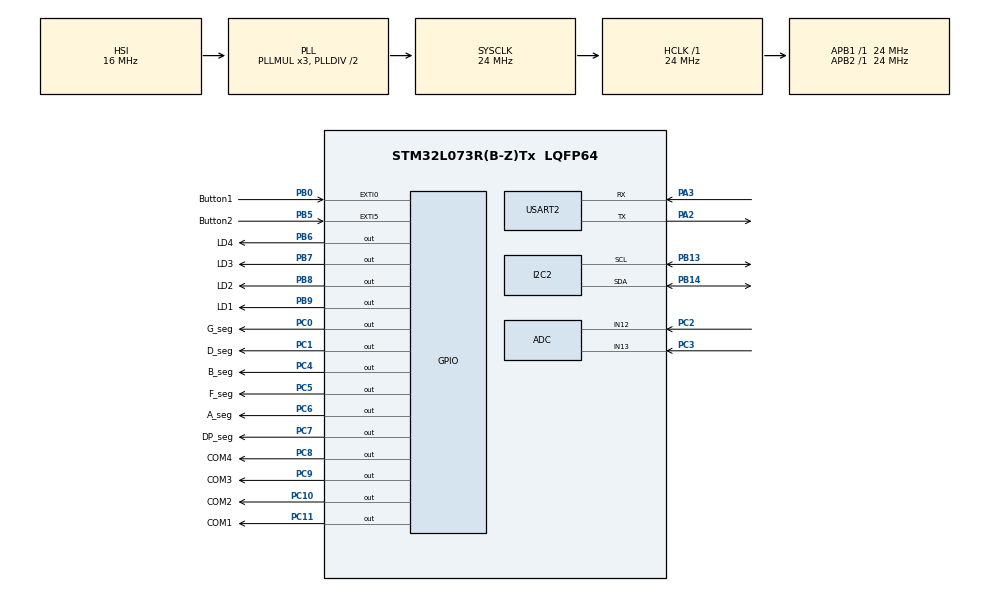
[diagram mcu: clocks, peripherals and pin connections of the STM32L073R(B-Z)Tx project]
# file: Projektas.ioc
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ADC.ClockPrescaler=ADC_CLOCK_ASYNC_DIV1
ADC.ContinuousConvMode=DISABLE
ADC.DMAContinuousRequests=DISABLE
ADC.EOCSelection=ADC_EOC_SEQ_CONV
ADC.SamplingTime=ADC_SAMPLETIME_160CYCLES_5
Dma.ADC.0.Direction=DMA_PERIPH_TO_MEMORY
Dma.ADC.0.Instance=DMA1_Channel1
Dma.ADC.0.MemDataAlignment=DMA_MDATAALIGN_HALFWORD
Dma.ADC.0.MemInc=DMA_MINC_ENABLE
Dma.ADC.0.Mode=DMA_NORMAL
Dma.ADC.0.PeriphDataAlignment=DMA_PDATAALIGN_HALFWORD
Dma.ADC.0.PeriphInc=DMA_PINC_DISABLE
Dma.ADC.0.Priority=DMA_PRIORITY_MEDIUM
Dma.Request0=ADC
I2C2.Timing=0x00805C87
Mcu.Family=STM32L0
Mcu.Name=STM32L073R(B-Z)Tx
Mcu.Package=LQFP64
NVIC.ADC1_COMP_IRQn=true\:0\:0\:false\:false\:true\:true\:true\:true
NVIC.DMA1_Channel1_IRQn=true\:0\:0\:false\:false\:true\:false\:true\:true
NVIC.EXTI0_1_IRQn=true\:0\:0\:false\:false\:true\:true\:true\:true
NVIC.EXTI4_15_IRQn=true\:0\:0\:false\:false\:true\:true\:true\:true
NVIC.TIM2_IRQn=true\:0\:0\:false\:false\:true\:true\:true\:true
PA2.Mode=Asynchronous
PA2.Signal=USART2_TX
PA3.Mode=Asynchronous
PA3.Signal=USART2_RX
PB0.GPIO_Label=Button1
PB0.GPIO_ModeDefaultEXTI=GPIO_MODE_IT_RISING
PB0.Signal=GPXTI0
PB13.Mode=I2C
PB13.Signal=I2C2_SCL
PB14.Mode=I2C
PB14.Signal=I2C2_SDA
PB5.GPIO_Label=Button2
PB5.Signal=GPXTI5
PB6.GPIO_Label=LD4
PB6.Signal=GPIO_Output
PB7.GPIO_Label=LD3
PB7.Signal=GPIO_Output
PB8.GPIO_Label=LD2
PB8.Signal=GPIO_Output
PB9.GPIO_Label=LD1
PB9.Signal=GPIO_Output
PC0.GPIO_Label=G_seg
PC0.Signal=GPIO_Output
PC1.GPIO_Label=D_seg
PC1.Signal=GPIO_Output
PC10.GPIO_Label=COM2
PC10.Signal=GPIO_Output
PC11.GPIO_Label=COM1
PC11.Signal=GPIO_Output
PC2.Mode=IN12
PC2.Signal=ADC_IN12
PC3.Mode=IN13
PC3.Signal=ADC_IN13
PC4.GPIO_Label=B_seg
PC4.Signal=GPIO_Output
PC5.GPIO_Label=F_seg
PC5.Signal=GPIO_Output
PC6.GPIO_Label=A_seg
PC6.Signal=GPIO_Output
PC7.GPIO_Label=DP_seg
PC7.Signal=GPIO_Output
PC8.GPIO_Label=COM4
PC8.Signal=GPIO_Output
PC9.GPIO_Label=COM3
PC9.Signal=GPIO_Output
ProjectManager.HeapSize=0x200
ProjectManager.StackSize=0x400
ProjectManager.TargetToolchain=MDK-ARM V5.32
RCC.ADCFreq_Value=16000000
RCC.AHBFreq_Value=24000000
RCC.APB1Freq_Value=24000000
RCC.APB1TimFreq_Value=24000000
RCC.APB2Freq_Value=24000000
RCC.APB2TimFreq_Value=24000000
RCC.HCLKFreq_Value=24000000
RCC.HSE_VALUE=8000000
RCC.HSI16_VALUE=16000000
RCC.HSI48_VALUE=48000000
RCC.HSI_VALUE=16000000
RCC.LSE_VALUE=32768
RCC.MSI_VALUE=2097000
RCC.SYSCLKFreq_VALUE=24000000
RCC.SYSCLKSource=RCC_SYSCLKSOURCE_PLLCLK
RCC.VCOOutputFreq_Value=48000000
TIM2.Period=800
TIM2.Prescaler=6000
USART2.VirtualMode-Asynchronous=VM_ASYNC
VP_TIM2_VS_ClockSourceINT.Mode=Internal
board=custom

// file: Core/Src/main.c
/* USER CODE BEGIN Header */
/**
  ******************************************************************************
  * @file           : main.c
  * @brief          : Main program body
  ******************************************************************************
  * @attention
  *
  * Copyright (c) 2025 STMicroelectronics.
  * All rights reserved.
  *
  * This software is licensed under terms that can be found in the LICENSE file
  * in the root directory of this software component.
  * If no LICENSE file comes with this software, it is provided AS-IS.
  *
  ******************************************************************************
  */
/* USER CODE END Header */
#include "main.h"

/* USER CODE BEGIN Includes */
#include "math.h"
#include "sc_types.h"
#include "Statechart.h"
#include "Statechart_required.h"

#include "ssd1306.h"
#include "ssd1306_fonts.h"
#include <stdio.h>

/* USER CODE END Includes */

ADC_HandleTypeDef hadc;
DMA_HandleTypeDef hdma_adc;

I2C_HandleTypeDef hi2c2;

TIM_HandleTypeDef htim2;

UART_HandleTypeDef huart2;

void SystemClock_Config(void);
static void MX_GPIO_Init(void);
static void MX_DMA_Init(void);
static void MX_TIM2_Init(void);
static void MX_ADC_Init(void);
static void MX_I2C2_Init(void);
static void MX_USART2_UART_Init(void);

/* USER CODE BEGIN 0 */
#define Rfixed 10000
#define NUM_CHAN 2
#define BUFF 10
volatile uint16_t adc_values[NUM_CHAN];
float LuxAvarage[NUM_CHAN];
float Lux[NUM_CHAN];
float LuxBuffer[BUFF][NUM_CHAN];
float skirtumas;

Statechart sc_handle; // Statechart pointer
/////////////////////////////////////

 sc_integer statechart_startConvADC( Statechart* handle, const sc_integer channel)
{
	  if (HAL_ADC_Start_DMA(&hadc,(uint32_t *)adc_values,NUM_CHAN) != HAL_OK)
		{
			Error_Handler();// handle error};
		  return 0;
		}
		return 1;
}

////////////// ADC /////////////////////////
 sc_integer statechart_readADCSample( Statechart* handle, const sc_integer channel)
{
	float Rldr[NUM_CHAN];
	float voltage[NUM_CHAN];
	if(channel==NUM_CHAN-1)
	{
		for(int i=0;i<NUM_CHAN;i++)
		{
		voltage[i]=((float)adc_values[i]/4096)*3.3;
		Rldr[i]=Rfixed*(voltage[i]/(3.3 - voltage[i]));
		Lux[i]=3.73e7f * powf(Rldr[i], -1.512f);
		}
	}
	return 1;
}

//////////////////// SAVE ADC SAMPLE /////////////////////////////////////////////
sc_integer statechart_saveADCSample( Statechart* handle, const sc_integer channel, const sc_integer sample)
{
	for (int i=0;i<NUM_CHAN;i++)
	 LuxBuffer[sample][i]=Lux[i];
	return 1;
}

////////////////////////Transmit////////////////////////////////////////
void statechart_transmitReadings(Statechart* handle)
{
	char txMessage[64];
	long timestamp;
	timestamp = HAL_GetTick();  // Milliseconds since startup
	int len = sprintf(txMessage, "Lux1: %.2f Lux2: %.2f [%lu ms] \r\n", Lux[0], Lux[1], timestamp);
	HAL_UART_Transmit(&huart2, (uint8_t*)txMessage, len, HAL_MAX_DELAY);
 }

//////////////////////// APDOROJA //////////////////////////////////////
void statechart_processData( Statechart* handle)
{
	int j;
	float sum2[2];
	for( j=0;j<2;j++)
	   sum2[j]=0;
  for(int i=0;i<10;i++)
	 {

		 for(j=0;j<2;j++)
	     sum2[j]+=LuxBuffer[i][j];
  }
	for(j=0;j<2;j++)
	{
	      LuxAvarage[j]=sum2[j]/BUFF;
	}
	skirtumas=fabsf(LuxAvarage[0]-LuxAvarage[1]);

}
void statechart_displayInfo( Statechart* handle)
{
	char txxMessage[64];
	long timestamp;
	#ifndef DISABLE_DISPLAY
	static char string_display[30];

	// Display analog sensors readings
	ssd1306_FillRectangle(0, 0,128, 32, Black);
	ssd1306_SetCursor(0, 0); // ssd1306_SetCursor(0, 14);
	sprintf(string_display,"Pirmas=%.2f lux",LuxAvarage[0]);
	ssd1306_WriteString(string_display,Font_6x8, White);
  ssd1306_SetCursor(0, 13); // ssd1306_SetCursor(0, 14);
  sprintf(string_display,"Antras=%.2f lux",LuxAvarage[1]);
  ssd1306_WriteString(string_display,Font_6x8, White);
	 ssd1306_SetCursor(0, 24); // ssd1306_SetCursor(0, 14);
  sprintf(string_display,"Skirtumas=%.1f lux",skirtumas);
  ssd1306_WriteString(string_display,Font_6x8, White);

	// Copy all data from local screenbuffer to the screen
  ssd1306_UpdateScreen();
	timestamp = HAL_GetTick();  // Milliseconds since startup
	int len = sprintf(txxMessage, "Atvaziduoja [%lu ms] \r\n", timestamp);
	HAL_UART_Transmit(&huart2, (uint8_t*)txxMessage, len, HAL_MAX_DELAY);
	#endif

	__asm("NOP");  // for breakpoint
}

void HAL_TIM_PeriodElapsedCallback(TIM_HandleTypeDef *htim)
{
  if (htim==&htim2)
	{
		HAL_ResumeTick(); // Enable SysTick after wake-up
		statechart_raise_ev_GetSample(&sc_handle); //raise event TimerIntr in statechart
	}
}

/* ADC conversion competed callback*/
void HAL_ADC_ConvCpltCallback(ADC_HandleTypeDef *hadc)
{
	HAL_ResumeTick(); // Enable SysTick after wake-up
	statechart_raise_ev_ADCSampleReady(&sc_handle); //raise event TimerIntr in statechart
}
/* USER CODE END 0 */

int main(void)
{

  /* MCU Configuration--------------------------------------------------------*/

  /* Reset of all peripherals, Initializes the Flash interface and the Systick. */
  HAL_Init();

  /* Configure the system clock */
  SystemClock_Config();

  /* Initialize all configured peripherals */
  MX_GPIO_Init();
  MX_DMA_Init();
  MX_TIM2_Init();
  MX_ADC_Init();
  MX_I2C2_Init();
  MX_USART2_UART_Init();
  /* USER CODE BEGIN 2 */
	#ifndef DISABLE_DISPLAY
	ssd1306_Init();
  // Write data to local screenbuffer
	ssd1306_SetCursor(0,0);
  ssd1306_WriteString("Starting ...",Font_11x18, White);
  ssd1306_SetCursor(0, 12);

	ssd1306_UpdateScreen();
	#endif

 #ifndef DISABLE_PROCESSING
  statechart_init(&sc_handle); // initialize state machine
  statechart_enter(&sc_handle); // run state machine

	if(HAL_TIM_Base_Start_IT(&htim2) != HAL_OK) //run TIM2 timer
   {
    //ErrorHandler();
   }
		#endif
  /* USER CODE END 2 */

  /* Infinite loop */
  while (1)
  {

  }
}

void SystemClock_Config(void)
{
  RCC_OscInitTypeDef RCC_OscInitStruct = {0};
  RCC_ClkInitTypeDef RCC_ClkInitStruct = {0};
  RCC_PeriphCLKInitTypeDef PeriphClkInit = {0};

  /** Configure the main internal regulator output voltage
  */
  __HAL_PWR_VOLTAGESCALING_CONFIG(PWR_REGULATOR_VOLTAGE_SCALE1);

  /** Initializes the RCC Oscillators according to the specified parameters
  * in the RCC_OscInitTypeDef structure.
  */
  RCC_OscInitStruct.OscillatorType = RCC_OSCILLATORTYPE_HSI;
  RCC_OscInitStruct.HSIState = RCC_HSI_ON;
  RCC_OscInitStruct.HSICalibrationValue = RCC_HSICALIBRATION_DEFAULT;
  RCC_OscInitStruct.PLL.PLLState = RCC_PLL_ON;
  RCC_OscInitStruct.PLL.PLLSource = RCC_PLLSOURCE_HSI;
  RCC_OscInitStruct.PLL.PLLMUL = RCC_PLLMUL_3;
  RCC_OscInitStruct.PLL.PLLDIV = RCC_PLLDIV_2;
  if (HAL_RCC_OscConfig(&RCC_OscInitStruct) != HAL_OK)
  {
    Error_Handler();
  }

  /** Initializes the CPU, AHB and APB buses clocks
  */
  RCC_ClkInitStruct.ClockType = RCC_CLOCKTYPE_HCLK|RCC_CLOCKTYPE_SYSCLK
                              |RCC_CLOCKTYPE_PCLK1|RCC_CLOCKTYPE_PCLK2;
  RCC_ClkInitStruct.SYSCLKSource = RCC_SYSCLKSOURCE_PLLCLK;
  RCC_ClkInitStruct.AHBCLKDivider = RCC_SYSCLK_DIV1;
  RCC_ClkInitStruct.APB1CLKDivider = RCC_HCLK_DIV1;
  RCC_ClkInitStruct.APB2CLKDivider = RCC_HCLK_DIV1;

  if (HAL_RCC_ClockConfig(&RCC_ClkInitStruct, FLASH_LATENCY_1) != HAL_OK)
  {
    Error_Handler();
  }
  PeriphClkInit.PeriphClockSelection = RCC_PERIPHCLK_USART2;
  PeriphClkInit.Usart2ClockSelection = RCC_USART2CLKSOURCE_PCLK1;
  if (HAL_RCCEx_PeriphCLKConfig(&PeriphClkInit) != HAL_OK)
  {
    Error_Handler();
  }
}

static void MX_ADC_Init(void)
{

  ADC_ChannelConfTypeDef sConfig = {0};

  /** Configure the global features of the ADC (Clock, Resolution, Data Alignment and number of conversion)
  */
  hadc.Instance = ADC1;
  hadc.Init.OversamplingMode = DISABLE;
  hadc.Init.ClockPrescaler = ADC_CLOCK_ASYNC_DIV1;
  hadc.Init.Resolution = ADC_RESOLUTION_12B;
  hadc.Init.SamplingTime = ADC_SAMPLETIME_160CYCLES_5;
  hadc.Init.ScanConvMode = ADC_SCAN_DIRECTION_FORWARD;
  hadc.Init.DataAlign = ADC_DATAALIGN_RIGHT;
  hadc.Init.ContinuousConvMode = DISABLE;
  hadc.Init.DiscontinuousConvMode = DISABLE;
  hadc.Init.ExternalTrigConvEdge = ADC_EXTERNALTRIGCONVEDGE_NONE;
  hadc.Init.ExternalTrigConv = ADC_SOFTWARE_START;
  hadc.Init.DMAContinuousRequests = DISABLE;
  hadc.Init.EOCSelection = ADC_EOC_SEQ_CONV;
  hadc.Init.Overrun = ADC_OVR_DATA_PRESERVED;
  hadc.Init.LowPowerAutoWait = DISABLE;
  hadc.Init.LowPowerFrequencyMode = DISABLE;
  hadc.Init.LowPowerAutoPowerOff = DISABLE;
  if (HAL_ADC_Init(&hadc) != HAL_OK)
  {
    Error_Handler();
  }

  /** Configure for the selected ADC regular channel to be converted.
  */
  sConfig.Channel = ADC_CHANNEL_12;
  sConfig.Rank = ADC_RANK_CHANNEL_NUMBER;
  if (HAL_ADC_ConfigChannel(&hadc, &sConfig) != HAL_OK)
  {
    Error_Handler();
  }

  /** Configure for the selected ADC regular channel to be converted.
  */
  sConfig.Channel = ADC_CHANNEL_13;
  if (HAL_ADC_ConfigChannel(&hadc, &sConfig) != HAL_OK)
  {
    Error_Handler();
  }

}

static void MX_I2C2_Init(void)
{

  hi2c2.Instance = I2C2;
  hi2c2.Init.Timing = 0x00805C87;
  hi2c2.Init.OwnAddress1 = 0;
  hi2c2.Init.AddressingMode = I2C_ADDRESSINGMODE_7BIT;
  hi2c2.Init.DualAddressMode = I2C_DUALADDRESS_DISABLE;
  hi2c2.Init.OwnAddress2 = 0;
  hi2c2.Init.OwnAddress2Masks = I2C_OA2_NOMASK;
  hi2c2.Init.GeneralCallMode = I2C_GENERALCALL_DISABLE;
  hi2c2.Init.NoStretchMode = I2C_NOSTRETCH_DISABLE;
  if (HAL_I2C_Init(&hi2c2) != HAL_OK)
  {
    Error_Handler();
  }

  /** Configure Analogue filter
  */
  if (HAL_I2CEx_ConfigAnalogFilter(&hi2c2, I2C_ANALOGFILTER_ENABLE) != HAL_OK)
  {
    Error_Handler();
  }

  /** Configure Digital filter
  */
  if (HAL_I2CEx_ConfigDigitalFilter(&hi2c2, 0) != HAL_OK)
  {
    Error_Handler();
  }

}

static void MX_TIM2_Init(void)
{

  TIM_ClockConfigTypeDef sClockSourceConfig = {0};
  TIM_MasterConfigTypeDef sMasterConfig = {0};

  htim2.Instance = TIM2;
  htim2.Init.Prescaler = 6000;
  htim2.Init.CounterMode = TIM_COUNTERMODE_UP;
  htim2.Init.Period = 800;
  htim2.Init.ClockDivision = TIM_CLOCKDIVISION_DIV1;
  htim2.Init.AutoReloadPreload = TIM_AUTORELOAD_PRELOAD_DISABLE;
  if (HAL_TIM_Base_Init(&htim2) != HAL_OK)
  {
    Error_Handler();
  }
  sClockSourceConfig.ClockSource = TIM_CLOCKSOURCE_INTERNAL;
  if (HAL_TIM_ConfigClockSource(&htim2, &sClockSourceConfig) != HAL_OK)
  {
    Error_Handler();
  }
  sMasterConfig.MasterOutputTrigger = TIM_TRGO_RESET;
  sMasterConfig.MasterSlaveMode = TIM_MASTERSLAVEMODE_DISABLE;
  if (HAL_TIMEx_MasterConfigSynchronization(&htim2, &sMasterConfig) != HAL_OK)
  {
    Error_Handler();
  }

}

static void MX_USART2_UART_Init(void)
{

  huart2.Instance = USART2;
  huart2.Init.BaudRate = 115200;
  huart2.Init.WordLength = UART_WORDLENGTH_8B;
  huart2.Init.StopBits = UART_STOPBITS_1;
  huart2.Init.Parity = UART_PARITY_NONE;
  huart2.Init.Mode = UART_MODE_TX_RX;
  huart2.Init.HwFlowCtl = UART_HWCONTROL_NONE;
  huart2.Init.OverSampling = UART_OVERSAMPLING_16;
  huart2.Init.OneBitSampling = UART_ONE_BIT_SAMPLE_DISABLE;
  huart2.AdvancedInit.AdvFeatureInit = UART_ADVFEATURE_NO_INIT;
  if (HAL_UART_Init(&huart2) != HAL_OK)
  {
    Error_Handler();
  }

}

static void MX_DMA_Init(void)
{

  /* DMA controller clock enable */
  __HAL_RCC_DMA1_CLK_ENABLE();

  /* DMA interrupt init */
  /* DMA1_Channel1_IRQn interrupt configuration */
  HAL_NVIC_SetPriority(DMA1_Channel1_IRQn, 0, 0);
  HAL_NVIC_EnableIRQ(DMA1_Channel1_IRQn);

}

static void MX_GPIO_Init(void)
{
  GPIO_InitTypeDef GPIO_InitStruct = {0};

  /* GPIO Ports Clock Enable */
  __HAL_RCC_GPIOC_CLK_ENABLE();
  __HAL_RCC_GPIOA_CLK_ENABLE();
  __HAL_RCC_GPIOB_CLK_ENABLE();

  /*Configure GPIO pin Output Level */
  HAL_GPIO_WritePin(GPIOC, G_seg_Pin|D_seg_Pin|B_seg_Pin|F_seg_Pin
                          |A_seg_Pin|DP_seg_Pin|COM4_Pin|COM3_Pin
                          |COM2_Pin|COM1_Pin, GPIO_PIN_RESET);

  /*Configure GPIO pin Output Level */
  HAL_GPIO_WritePin(GPIOB, LD4_Pin|LD3_Pin|LD2_Pin|LD1_Pin, GPIO_PIN_RESET);

  /*Configure GPIO pins : G_seg_Pin D_seg_Pin B_seg_Pin F_seg_Pin
                           A_seg_Pin DP_seg_Pin COM4_Pin COM3_Pin
                           COM2_Pin COM1_Pin */
  GPIO_InitStruct.Pin = G_seg_Pin|D_seg_Pin|B_seg_Pin|F_seg_Pin
                          |A_seg_Pin|DP_seg_Pin|COM4_Pin|COM3_Pin
                          |COM2_Pin|COM1_Pin;
  GPIO_InitStruct.Mode = GPIO_MODE_OUTPUT_PP;
  GPIO_InitStruct.Pull = GPIO_NOPULL;
  GPIO_InitStruct.Speed = GPIO_SPEED_FREQ_LOW;
  HAL_GPIO_Init(GPIOC, &GPIO_InitStruct);

  /*Configure GPIO pins : Button1_Pin Button2_Pin */
  GPIO_InitStruct.Pin = Button1_Pin|Button2_Pin;
  GPIO_InitStruct.Mode = GPIO_MODE_IT_RISING;
  GPIO_InitStruct.Pull = GPIO_NOPULL;
  HAL_GPIO_Init(GPIOB, &GPIO_InitStruct);

  /*Configure GPIO pins : LD4_Pin LD3_Pin LD2_Pin LD1_Pin */
  GPIO_InitStruct.Pin = LD4_Pin|LD3_Pin|LD2_Pin|LD1_Pin;
  GPIO_InitStruct.Mode = GPIO_MODE_OUTPUT_PP;
  GPIO_InitStruct.Pull = GPIO_NOPULL;
  GPIO_InitStruct.Speed = GPIO_SPEED_FREQ_LOW;
  HAL_GPIO_Init(GPIOB, &GPIO_InitStruct);

  /* EXTI interrupt init*/
  HAL_NVIC_SetPriority(EXTI0_1_IRQn, 0, 0);
  HAL_NVIC_EnableIRQ(EXTI0_1_IRQn);

  HAL_NVIC_SetPriority(EXTI4_15_IRQn, 0, 0);
  HAL_NVIC_EnableIRQ(EXTI4_15_IRQn);

}

void Error_Handler(void)
{
  __disable_irq();
  while (1)
  {
  }
}
